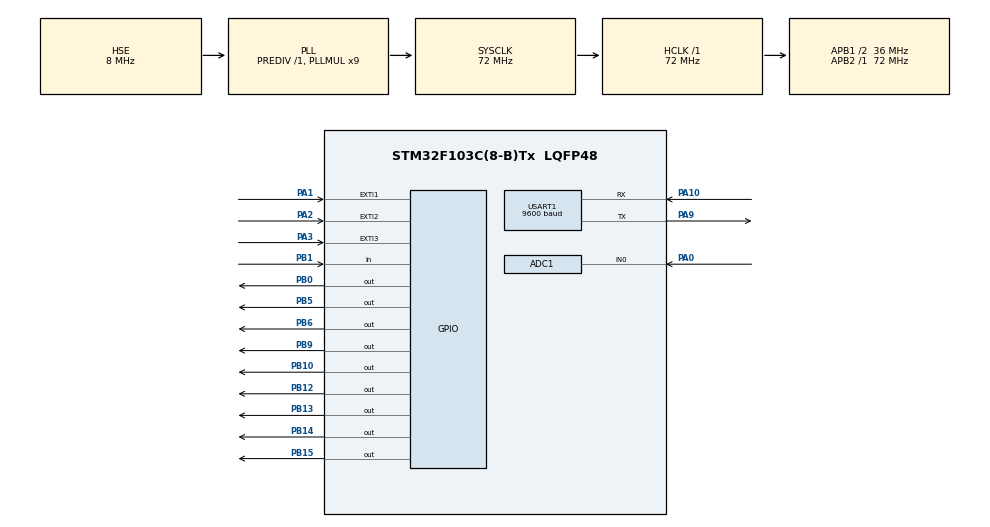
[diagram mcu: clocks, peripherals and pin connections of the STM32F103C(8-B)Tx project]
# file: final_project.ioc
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ADC1.Channel-5\#ChannelRegularConversion=ADC_CHANNEL_0
ADC1.NbrOfConversionFlag=1
ADC1.Rank-5\#ChannelRegularConversion=1
ADC1.SamplingTime-5\#ChannelRegularConversion=ADC_SAMPLETIME_1CYCLE_5
ADC1.master=1
Mcu.Family=STM32F1
Mcu.Name=STM32F103C(8-B)Tx
Mcu.Package=LQFP48
NVIC.ADC1_2_IRQn=true\:0\:0\:false\:false\:true\:true\:true
NVIC.EXTI1_IRQn=true\:0\:0\:false\:true\:true\:1\:true\:true
NVIC.EXTI2_IRQn=true\:0\:0\:false\:true\:true\:3\:true\:true
NVIC.EXTI3_IRQn=true\:0\:0\:false\:true\:true\:2\:true\:true
NVIC.PriorityGroup=NVIC_PRIORITYGROUP_4
NVIC.USART1_IRQn=true\:0\:0\:false\:false\:true\:true\:true
PA0-WKUP.Signal=ADCx_IN0
PA1.GPIO_ModeDefaultEXTI=GPIO_MODE_IT_FALLING
PA1.Signal=GPXTI1
PA10.Mode=Asynchronous
PA10.Signal=USART1_RX
PA13.Mode=Serial_Wire
PA13.Signal=SYS_JTMS-SWDIO
PA14.Mode=Serial_Wire
PA14.Signal=SYS_JTCK-SWCLK
PA2.GPIO_ModeDefaultEXTI=GPIO_MODE_IT_FALLING
PA2.Signal=GPXTI2
PA3.GPIO_ModeDefaultEXTI=GPIO_MODE_IT_FALLING
PA3.Signal=GPXTI3
PA9.Mode=Asynchronous
PA9.Signal=USART1_TX
PB0.Signal=GPIO_Output
PB1.Signal=GPIO_Input
PB10.Signal=GPIO_Output
PB12.Signal=GPIO_Output
PB13.Signal=GPIO_Output
PB14.Signal=GPIO_Output
PB15.Signal=GPIO_Output
PB5.Signal=GPIO_Output
PB6.Signal=GPIO_Output
PB9.Signal=GPIO_Output
PD0-OSC_IN.Mode=HSE-External-Oscillator
PD0-OSC_IN.Signal=RCC_OSC_IN
PD1-OSC_OUT.Mode=HSE-External-Oscillator
PD1-OSC_OUT.Signal=RCC_OSC_OUT
ProjectManager.HeapSize=0x200
ProjectManager.StackSize=0x400
ProjectManager.TargetToolchain=TrueSTUDIO
RCC.ADCPresc=RCC_ADCPCLK2_DIV6
RCC.AHBFreq_Value=72000000
RCC.APB1CLKDivider=RCC_HCLK_DIV2
RCC.APB1Freq_Value=36000000
RCC.APB1TimFreq_Value=72000000
RCC.APB2Freq_Value=72000000
RCC.APB2TimFreq_Value=72000000
RCC.HCLKFreq_Value=72000000
RCC.PLLMUL=RCC_PLL_MUL9
RCC.PLLSourceVirtual=RCC_PLLSOURCE_HSE
RCC.SYSCLKFreq_VALUE=72000000
RCC.SYSCLKSource=RCC_SYSCLKSOURCE_PLLCLK
RCC.USBFreq_Value=72000000
SH.ADCx_IN0.0=ADC1_IN0,IN0
USART1.BaudRate=9600
USART1.VirtualMode=VM_ASYNC
board=custom

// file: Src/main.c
/* USER CODE BEGIN Header */
/**
 ******************************************************************************
 * @file           : main.c
 * @brief          : Main program body
 ******************************************************************************
 ** This notice applies to any and all portions of this file
 * that are not between comment pairs USER CODE BEGIN and
 * USER CODE END. Other portions of this file, whether
 * inserted by the user or by software development tools
 * are owned by their respective copyright owners.
 *
 * COPYRIGHT(c) 2019 STMicroelectronics
 *
 * Redistribution and use in source and binary forms, with or without modification,
 * are permitted provided that the following conditions are met:
 *   1. Redistributions of source code must retain the above copyright notice,
 *      this list of conditions and the following disclaimer.
 *   2. Redistributions in binary form must reproduce the above copyright notice,
 *      this list of conditions and the following disclaimer in the documentation
 *      and/or other materials provided with the distribution.
 *   3. Neither the name of STMicroelectronics nor the names of its contributors
 *      may be used to endorse or promote products derived from this software
 *      without specific prior written permission.
 *
 * THIS SOFTWARE IS PROVIDED BY THE COPYRIGHT HOLDERS AND CONTRIBUTORS "AS IS"
 * AND ANY EXPRESS OR IMPLIED WARRANTIES, INCLUDING, BUT NOT LIMITED TO, THE
 * IMPLIED WARRANTIES OF MERCHANTABILITY AND FITNESS FOR A PARTICULAR PURPOSE ARE
 * DISCLAIMED. IN NO EVENT SHALL THE COPYRIGHT HOLDER OR CONTRIBUTORS BE LIABLE
 * FOR ANY DIRECT, INDIRECT, INCIDENTAL, SPECIAL, EXEMPLARY, OR CONSEQUENTIAL
 * DAMAGES (INCLUDING, BUT NOT LIMITED TO, PROCUREMENT OF SUBSTITUTE GOODS OR
 * SERVICES; LOSS OF USE, DATA, OR PROFITS; OR BUSINESS INTERRUPTION) HOWEVER
 * CAUSED AND ON ANY THEORY OF LIABILITY, WHETHER IN CONTRACT, STRICT LIABILITY,
 * OR TORT (INCLUDING NEGLIGENCE OR OTHERWISE) ARISING IN ANY WAY OUT OF THE USE
 * OF THIS SOFTWARE, EVEN IF ADVISED OF THE POSSIBILITY OF SUCH DAMAGE.
 *
 ******************************************************************************
 */
/* USER CODE END Header */

#include <stm32f103xb.h>
#include <stm32f1xx.h>
#include <stm32f1xx_hal_adc.h>
#include <stm32f1xx_hal_adc_ex.h>
#include <stm32f1xx_hal_cortex.h>
#include <stm32f1xx_hal_def.h>
#include <stm32f1xx_hal_flash.h>
#include <stm32f1xx_hal_gpio.h>
#include <stm32f1xx_hal_rcc.h>
#include <stm32f1xx_hal_rcc_ex.h>
#include <stm32f1xx_hal_uart.h>
#include "stateMachine.h"
#include "e_adc_state.h"
#include "clock.h"
#include <string.h>
#include "main.h"

/* USER CODE BEGIN Includes */
#include "mx_prat_05_funcoes.h"   // header do arqv das funcoes do programa
/* USER CODE END Includes */

/* USER CODE BEGIN PD */
#define DT_VARRE  5             // inc varredura a cada 5 ms (~200 Hz)
#define DT_SELECT  200
#define DIGITO_APAGADO 0x10    // kte valor p/ apagar um d�ｿｽgito no display
#define SEGUNDO 100
#define MINUTO 60*SEGUNDO
#define RESET_CLOCK_TIME 3000
#define MAX_TRANSMIT_TRIES 3
#define BUFFER_SIZE 4
#define REQUEST_TRANSMISSION_DELAY (uint32_t) 250
#define WAITING_REQUEST_LED_BLINK_DELAY 100
#define SEVEN_SEG_E 14

#define TRUE 1
#define FALSE 0

/* USER CODE END PD */

volatile int receivedDataFlag = FALSE,
    canTransmitFlag = TRUE,
		shouldSendAdcValue = FALSE;

int transmitCounter = 0;
ADC_HandleTypeDef hadc1;
UART_HandleTypeDef huart1;

void SystemClock_Config(void);
static void MX_GPIO_Init(void);
static void MX_ADC1_Init(void);
static void MX_USART1_UART_Init(void);
static void MX_NVIC_Init(void);
/* USER CODE BEGIN PFP */
void setAdcState(int);             // seta modo_oper (no stm32f1xx_it.c)
int getAdcState(void);             // obt�ｿｽm modo_oper (stm32f1xx_it.c)
int getMachineState(void);
void setMachineState(int);
void setClockEditMode(eClockEditMode clockSelect);
int getClockEditMode(void);
void reset_pin_GPIOs(void);         // reset pinos da SPI
void serializar(int ser_data);       // prot fn serializa dados p/ 74HC595
int16_t conv_7_seg(int NumHex);      // prot fn conv valor --> 7-seg
int compareBuffers(uint8_t * first, uint8_t * second);
int isRequestToSendData(uint8_t * receiveBuffer, uint8_t * requestBuffer);
uint16_t calculateChecksum(uint8_t * buffer);
void packSendBuffer(uint8_t * buffer, uint16_t val_adc);
int isChecksumCorrect(uint8_t * receiveBuffer, uint16_t calculatedChecksum);
uint16_t getADCValueFromBuffer(uint8_t * receiveBuffer);
void turnOffLeds();
int isBufferReset(uint8_t * receiveBuffer);

/* USER CODE END PFP */

/* USER CODE BEGIN 0 */
volatile int16_t val_adc = 0,
    receivedValAdc = 0;

uint8_t requestBuffer[BUFFER_SIZE] = { 0x72, 0x72, 0x72, 0x72 },
    receiveBuffer[BUFFER_SIZE] = { 0x00, 0x00, 0x00, 0x00 },
    dataBuffer[BUFFER_SIZE] = { 0x00, 0x00, 0x00, 0x00 };

void resetClockStTimer(stHour * actualTime) {
	actualTime->seconds = 0;
	actualTime->minutes = 0;
	actualTime->hours = 0;
}

/* USER CODE END 0 */

int main(void) {
	/* USER CODE BEGIN 1 */
	// vars e flags de controle do programa no superloop...
	short acende = 0;
	int milADC = 0,                    // ini decimo de seg
			cenADC = 0,                      // ini unidade de seg
			dezADC = 0,                      // ini dezena de seg
			uniADC = 0;                      // ini unidade de minuto

	int minAnterior = 0;

	int16_t val7seg = 0x00FF,          // inicia 7-seg com 0xF (tudo apagado)
			serial_data = 0x01FF;           // dado a serializar (dig | val7seg)

	uint32_t miliVolt = 0x0,           // val adc convertido p/ miliVolts
			tIN_varre = 0,                  // registra tempo ultima varredura
			tIN_relogio = 0,
			tIN_select = 0;

	volatile uint32_t resetClockTimer = 0,
	    transmitTimer = -6000,
	    abortTime = 0,
	    uartResponseWaitTimer = 0;

	/* USER CODE END 1 */

	/* MCU Configuration--------------------------------------------------------*/

	/* Reset of all peripherals, Initializes the Flash interface and the Systick. */
	HAL_Init();

	/* Configure the system clock */
	SystemClock_Config();

	/* Initialize all configured peripherals */
	MX_GPIO_Init();
	MX_ADC1_Init();
	MX_USART1_UART_Init();

	/* Initialize interrupts */
	MX_NVIC_Init();
	/* USER CODE BEGIN 2 */

	// inicializa a SPI (pinos 6,9,10 da GPIOB)
	reset_pin_GPIOs();

	// Inicializa a recepcao de dados via UART
	HAL_UART_Receive_IT(&huart1, receiveBuffer, sizeof(receiveBuffer));

	// var de estado que controla a varredura (qual display �ｿｽ mostrado)
	static enum {
		DIG_UNI, DIG_DEC, DIG_CENS, DIG_MILS
	} sttVARRE = DIG_UNI;

	/* USER CODE END 2 */

	/* Infinite loop */
	while (1) {

		/* USER CODE BEGIN 3 */

	  // Incrementa tempo do relogio
	  if ((HAL_GetTick() - tIN_relogio) > SEGUNDO) {

	    tIN_relogio = HAL_GetTick();
	    incrementSeconds();

	    if(minAnterior != getTempTimeMinutes()){
	      setAdcState(ADC_STATE_SHOOT_ADC_CONVERSION);
	      minAnterior = getTempTimeMinutes();
	    }
	  }

		// Verifica se deve reiniciar contagem do relogio
		if (HAL_GPIO_ReadPin(GPIOA, GPIO_PIN_3) == GPIO_PIN_RESET) {
			if (HAL_GetTick() - resetClockTimer > RESET_CLOCK_TIME) {
				resetClockTimer = HAL_GetTick();
				setMachineState(MACHINE_STATE_CLOCK);
				resetTempTime();
			}
		} else {
			resetClockTimer = HAL_GetTick();
		}

		// Verifica se recebeu dados e faz tratamento de acordo
		if (receivedDataFlag) {
		  if (isRequestToSendData(receiveBuffer, requestBuffer)) {
		    setAdcState(ADC_STATE_SHOOT_ADC_CONVERSION);
		    shouldSendAdcValue = TRUE;
		  } else {
		    // entao eh dados
		    if (isChecksumCorrect(receiveBuffer,
		        calculateChecksum(receiveBuffer)) && !isBufferReset(receiveBuffer)) {
		      transmitCounter = 0;
		      receivedValAdc = getADCValueFromBuffer(receiveBuffer);
		    }
		  }

		  receivedDataFlag = FALSE;
		  HAL_UART_Receive_IT(&huart1, receiveBuffer, sizeof(receiveBuffer));
		}

		// Conversor analogico para digital
		if (getAdcState() == ADC_STATE_SHOOT_ADC_CONVERSION) {
		  setAdcState(ADC_STATE_IDLE);
		  HAL_ADC_Start_IT(&hadc1);  // dispara ADC p/ conversao por IRQ
		}

		if (getAdcState() == ADC_STATE_CONVERT_TO_MILI_VOLTS && getMachineState() == MACHINE_STATE_LDR_LOCAL) // entra qdo valor val_adc atualizado
		{
		  // converter o valor lido em decimais p/ display
		  miliVolt = val_adc * 3300 / 4095;
		  uniADC = miliVolt / 1000;
		  dezADC = (miliVolt - (uniADC * 1000)) / 100;
		  cenADC = (miliVolt - (uniADC * 1000) - (dezADC * 100)) / 10;
		  milADC = miliVolt - (uniADC * 1000) - (dezADC * 100)
					    - (cenADC * 10);
		  setAdcState(ADC_STATE_IDLE);                // zera var modo_oper
		}

		switch (getMachineState()) {
		  case MACHINE_STATE_CLOCK:
		    turnOffLeds();
		    if(getClockEditMode() == CLOCK_EDIT_MODE_HOUR) {
		      HAL_GPIO_WritePin(GPIOB, GPIO_PIN_13, GPIO_PIN_RESET);
		    } else if (getClockEditMode() == CLOCK_EDIT_MODE_MINUTES) {
		      HAL_GPIO_WritePin(GPIOB, GPIO_PIN_12, GPIO_PIN_RESET);
		    }

		    switch (getClockEditMode()) {
		      case CLOCK_EDIT_MODE_MINUTES:
		      case CLOCK_EDIT_MODE_HOUR:

		        if ((HAL_GetTick() - tIN_select) > DT_SELECT) {
		          tIN_select = HAL_GetTick(); // salva tIN p/ prox tempo varredura
		          acende = !acende;
		        }

		        if ((HAL_GetTick() - tIN_varre) > DT_VARRE) {
		          tIN_varre = HAL_GetTick(); // salva tIN p/ prox tempo varredura
		          switch (sttVARRE) {
		            case DIG_MILS: {
		              sttVARRE = DIG_CENS;        // ajusta p/ prox digito
		              serial_data = 0x0008;          // display #1

		              if((getClockEditMode() == CLOCK_EDIT_MODE_MINUTES) && !acende) {
		                val7seg = 0xFFFF;
		              } else {
		                val7seg = conv_7_seg(getTempTimeUniMinutes());
		              }
		              break;
		            }
		            case DIG_CENS: {
		              sttVARRE = DIG_DEC;         // ajusta p/ prox digito
		              serial_data = 0x00004;         // display #2

		              if((getClockEditMode() == CLOCK_EDIT_MODE_MINUTES) && !acende) {
		                val7seg = 0xFFFF;
		              } else {
		                val7seg = conv_7_seg(getTempTimeDezMinutes());
		              }
		              break;
		            }
		            case DIG_DEC: {
		              sttVARRE = DIG_UNI;         // ajusta p/ prox digito
		              serial_data = 0x0002;          // display #3

		              if((getClockEditMode() == CLOCK_EDIT_MODE_HOUR) && !acende) {
		                val7seg = 0xFFFF;
		              } else {
		                val7seg = conv_7_seg(getTempTimeUniHours());
		                val7seg &= 0x7FFF;           // liga o ponto decimal
		              }
		              break;
		            }
		            case DIG_UNI: {
		              sttVARRE = DIG_MILS;        // ajusta p/ prox digito
		              serial_data = 0x0001;          // display #3

		              if((getClockEditMode() == CLOCK_EDIT_MODE_HOUR) && !acende) {
		                val7seg = 0xFFFF;
		              } else {
		                val7seg = conv_7_seg(getTempTimeDezHours());
		                val7seg &= 0x7FFF;           // liga o ponto decimal
		              }
		              break;
		            }
		          }
		          tIN_varre = HAL_GetTick(); // tmp atual em que fez essa varredura
		          serial_data |= val7seg; // OR com val7seg = dado a serializar
		          serializar(serial_data); // serializa dado p/74HC595 (shift reg)
		        }
		      case CLOCK_EDIT_MODE_RUN:

		        // Envia para o display
		        if ((HAL_GetTick() - tIN_varre) > DT_VARRE) {
		          tIN_varre = HAL_GetTick(); // salva tIN p/ prox tempo varredura
		          switch (sttVARRE)
		          // teste e escolha de qual DIG vai varrer
		          {
		            case DIG_MILS: {
		              sttVARRE = DIG_CENS;           // ajusta p/ prox digito
		              serial_data = 0x0008;          // display #1
		              val7seg = conv_7_seg(getTempTimeUniMinutes());
		              break;
		            }
		            case DIG_CENS: {
		              sttVARRE = DIG_DEC;            // ajusta p/ prox digito
		              serial_data = 0x00004;         // display #2
		              val7seg = conv_7_seg(getTempTimeDezMinutes());
		              break;
		            }
		            case DIG_DEC: {
		              sttVARRE = DIG_UNI;            // ajusta p/ prox digito
		              serial_data = 0x0002;          // display #3
		              val7seg = conv_7_seg(getTempTimeUniHours());
		              val7seg &= 0x7FFF;            // liga o ponto decimal
		              break;
		            }
		            case DIG_UNI: {
		              sttVARRE = DIG_MILS;           // ajusta p/ prox digito
		              serial_data = 0x0001;          // display #3
		              val7seg = conv_7_seg(getTempTimeDezHours());
		              break;
		            }
		          }  // fim case
		          tIN_varre = HAL_GetTick(); // tmp atual em que fez essa varredura
		          serial_data |= val7seg; // OR com val7seg = dado a serializar
		          serializar(serial_data); // serializa dado p/74HC595 (shift reg)
		        }
		        break;
		    }
		    break;
		      case MACHINE_STATE_LDR_LOCAL:
		        if ((HAL_GetTick() - tIN_varre) > DT_VARRE) {
		          tIN_varre = HAL_GetTick();  // salva tIN p/ prox tempo varredura
		          switch (sttVARRE)
		          // teste e escolha de qual DIG vai varrer
		          {
		            case DIG_MILS: {
		              sttVARRE = DIG_CENS;           // ajusta p/ prox digito
		              serial_data = 0x0008;          // display #1
		              val7seg = conv_7_seg(milADC);
		              break;
		            }
		            case DIG_CENS: {
		              sttVARRE = DIG_DEC;            // ajusta p/ prox digito
		              serial_data = 0x00004;         // display #2
		              if (cenADC > 0 || dezADC > 0 || uniADC > 0) {
		                val7seg = conv_7_seg(cenADC);
		              } else {
		                val7seg = conv_7_seg(DIGITO_APAGADO);
		              }
		              break;
		            }
		            case DIG_DEC: {
		              sttVARRE = DIG_UNI;            // ajusta p/ prox digito
		              serial_data = 0x0002;          // display #3
		              if (dezADC > 0 || uniADC > 0) {
		                val7seg = conv_7_seg(dezADC);
		              } else {
		                val7seg = conv_7_seg(DIGITO_APAGADO);
		              }
		              break;
		            }
		            case DIG_UNI: {
		              sttVARRE = DIG_MILS;           // ajusta p/ prox digito
		              serial_data = 0x0001;          // display #3
		              if (uniADC > 0) {
		                val7seg = conv_7_seg(uniADC);
		                val7seg &= 0x7FFF;            // liga o ponto decimal
		              } else {
		                val7seg = conv_7_seg(DIGITO_APAGADO);
		              }
		              break;
		            }
		          }  // fim case
		          tIN_varre = HAL_GetTick(); // tmp atual em que fez essa varredura
		          serial_data |= val7seg;    // OR com val7seg = dado a serializar
		          serializar(serial_data); // serializa dado p/74HC595 (shift reg)
		        }  // -- fim da tarefa #3 - varredura do display

		        break;
		      case MACHINE_STATE_LDR_NOT_LOCAL:
		        if ((HAL_GetTick() - transmitTimer > REQUEST_TRANSMISSION_DELAY
		            && canTransmitFlag)) {
		          transmitTimer = HAL_GetTick();
		          transmitCounter++;
		          canTransmitFlag = FALSE;

		          turnOffLeds();
		          HAL_UART_Transmit_IT(&huart1, requestBuffer,
		              sizeof(requestBuffer));
		        }

		        // Acende LEDS e toca buzer
		        if((transmitCounter) && (HAL_GetTick() - uartResponseWaitTimer > WAITING_REQUEST_LED_BLINK_DELAY)) {
		          uartResponseWaitTimer = HAL_GetTick();
		          HAL_GPIO_TogglePin(GPIOB, GPIO_PIN_12 | GPIO_PIN_13 | GPIO_PIN_14 | GPIO_PIN_15 | GPIO_PIN_5);
		        } else if (!transmitCounter){
		          turnOffLeds();
		          HAL_GPIO_WritePin(GPIOB, GPIO_PIN_14, GPIO_PIN_RESET);
		        }

		        // Da sinal de erro caso nao sejam respondidas requisicoes UART feitas
		        if (transmitCounter > MAX_TRANSMIT_TRIES) {
		          milADC = transmitCounter % 10;
		          cenADC = transmitCounter / 10;
		          dezADC = SEVEN_SEG_E;
		          uniADC = SEVEN_SEG_E;

		          // Aborta operações da UART caso atinja timeout
		          if(HAL_GetTick() - abortTime > 800) {
		            abortTime = HAL_GetTick();
		            HAL_UART_Abort_IT(&huart1);
		          }
		        } else {
		          // converter o valor recebido em decimais p/ display
		          miliVolt = receivedValAdc * 3300 / 4095;
		          uniADC = miliVolt / 1000;
		          dezADC = (miliVolt - (uniADC * 1000)) / 100;
		          cenADC = (miliVolt - (uniADC * 1000) - (dezADC * 100)) / 10;
		          milADC = miliVolt - (uniADC * 1000) - (dezADC * 100)
	                                    - (cenADC * 10);
		        }

		        if ((HAL_GetTick() - tIN_varre) > DT_VARRE) {
		          tIN_varre = HAL_GetTick(); // salva tIN p/ prox tempo varredura

		          switch (sttVARRE)
		          // teste e escolha de qual DIG vai varrer
		          {
		            case DIG_MILS: {
		              sttVARRE = DIG_CENS;           // ajusta p/ prox digito
		              serial_data = 0x0008;          // display #1
		              val7seg = conv_7_seg(milADC);
		              break;
		            }
		            case DIG_CENS: {
		              sttVARRE = DIG_DEC;            // ajusta p/ prox digito
		              serial_data = 0x00004;         // display #2
		              if (cenADC > 0 || dezADC > 0 || uniADC > 0) {
		                val7seg = conv_7_seg(cenADC);
		              } else {
		                val7seg = conv_7_seg(DIGITO_APAGADO);
		              }
		              break;
		            }
		            case DIG_DEC: {
		              sttVARRE = DIG_UNI;            // ajusta p/ prox digito
		              serial_data = 0x0002;          // display #3
		              if (dezADC > 0 || uniADC > 0) {
		                val7seg = conv_7_seg(dezADC);
		              } else {
		                val7seg = conv_7_seg(DIGITO_APAGADO);
		              }
		              break;
		            }
		            case DIG_UNI: {
		              sttVARRE = DIG_MILS;           // ajusta p/ prox digito
		              serial_data = 0x0001;          // display #3
		              if (uniADC > 0) {
		                val7seg = conv_7_seg(uniADC);
		                val7seg &= 0x7FFF;           // liga o ponto decimal
		              } else {
		                val7seg = conv_7_seg(DIGITO_APAGADO);
		              }
		              break;
		            }
		          }  // fim case
		          tIN_varre = HAL_GetTick(); // tmp atual em que fez essa varredura
		          serial_data |= val7seg; // OR com val7seg = dado a serializar
		          serializar(serial_data); // serializa dado p/74HC595 (shift reg)
		        }  // -- fim da tarefa #3 - varredura do display

		        break;
		}

	}    // -- fim do loop infinito

	/* USER CODE END 3 */
}

void SystemClock_Config(void) {
	RCC_OscInitTypeDef RCC_OscInitStruct = { 0 };
	RCC_ClkInitTypeDef RCC_ClkInitStruct = { 0 };
	RCC_PeriphCLKInitTypeDef PeriphClkInit = { 0 };
	/**Initializes the CPU, AHB and APB busses clocks
	 */
	RCC_OscInitStruct.OscillatorType = RCC_OSCILLATORTYPE_HSE;
	RCC_OscInitStruct.HSEState = RCC_HSE_ON;
	RCC_OscInitStruct.HSEPredivValue = RCC_HSE_PREDIV_DIV1;
	RCC_OscInitStruct.HSIState = RCC_HSI_ON;
	RCC_OscInitStruct.PLL.PLLState = RCC_PLL_ON;
	RCC_OscInitStruct.PLL.PLLSource = RCC_PLLSOURCE_HSE;
	RCC_OscInitStruct.PLL.PLLMUL = RCC_PLL_MUL9;
	if (HAL_RCC_OscConfig(&RCC_OscInitStruct) != HAL_OK) {
		Error_Handler();
	}
	/**Initializes the CPU, AHB and APB busses clocks
	 */
	RCC_ClkInitStruct.ClockType = RCC_CLOCKTYPE_HCLK | RCC_CLOCKTYPE_SYSCLK
			| RCC_CLOCKTYPE_PCLK1 | RCC_CLOCKTYPE_PCLK2;
	RCC_ClkInitStruct.SYSCLKSource = RCC_SYSCLKSOURCE_PLLCLK;
	RCC_ClkInitStruct.AHBCLKDivider = RCC_SYSCLK_DIV1;
	RCC_ClkInitStruct.APB1CLKDivider = RCC_HCLK_DIV2;
	RCC_ClkInitStruct.APB2CLKDivider = RCC_HCLK_DIV1;

	if (HAL_RCC_ClockConfig(&RCC_ClkInitStruct, FLASH_LATENCY_2) != HAL_OK) {
		Error_Handler();
	}
	PeriphClkInit.PeriphClockSelection = RCC_PERIPHCLK_ADC;
	PeriphClkInit.AdcClockSelection = RCC_ADCPCLK2_DIV6;
	if (HAL_RCCEx_PeriphCLKConfig(&PeriphClkInit) != HAL_OK) {
		Error_Handler();
	}
}

/**
 * @brief NVIC Configuration.
 * @retval None
 */
static void MX_NVIC_Init(void) {
	/* EXTI1_IRQn interrupt configuration */
	HAL_NVIC_SetPriority(EXTI1_IRQn, 0, 0);
	HAL_NVIC_EnableIRQ(EXTI1_IRQn);
	/* EXTI3_IRQn interrupt configuration */
	HAL_NVIC_SetPriority(EXTI3_IRQn, 0, 0);
	HAL_NVIC_EnableIRQ(EXTI3_IRQn);
	/* EXTI2_IRQn interrupt configuration */
	HAL_NVIC_SetPriority(EXTI2_IRQn, 0, 0);
	HAL_NVIC_EnableIRQ(EXTI2_IRQn);
}

static void MX_ADC1_Init(void) {

	ADC_ChannelConfTypeDef sConfig = { 0 };

	/**Common config
	 */
	hadc1.Instance = ADC1;
	hadc1.Init.ScanConvMode = ADC_SCAN_DISABLE;
	hadc1.Init.ContinuousConvMode = DISABLE;
	hadc1.Init.DiscontinuousConvMode = DISABLE;
	hadc1.Init.ExternalTrigConv = ADC_SOFTWARE_START;
	hadc1.Init.DataAlign = ADC_DATAALIGN_RIGHT;
	hadc1.Init.NbrOfConversion = 1;
	if (HAL_ADC_Init(&hadc1) != HAL_OK) {
		Error_Handler();
	}
	/**Configure Regular Channel
	 */
	sConfig.Channel = ADC_CHANNEL_0;
	sConfig.Rank = ADC_REGULAR_RANK_1;
	sConfig.SamplingTime = ADC_SAMPLETIME_1CYCLE_5;
	if (HAL_ADC_ConfigChannel(&hadc1, &sConfig) != HAL_OK) {
		Error_Handler();
	}

}

static void MX_USART1_UART_Init(void) {

	huart1.Instance = USART1;
	huart1.Init.BaudRate = 38400;
	huart1.Init.WordLength = UART_WORDLENGTH_8B;
	huart1.Init.StopBits = UART_STOPBITS_1;
	huart1.Init.Parity = UART_PARITY_NONE;
	huart1.Init.Mode = UART_MODE_TX_RX;
	huart1.Init.HwFlowCtl = UART_HWCONTROL_NONE;
	huart1.Init.OverSampling = UART_OVERSAMPLING_16;
	if (HAL_UART_Init(&huart1) != HAL_OK) {
		Error_Handler();
	}

}

static void MX_GPIO_Init(void) {
	GPIO_InitTypeDef GPIO_InitStruct = { 0 };

	/* GPIO Ports Clock Enable */
	__HAL_RCC_GPIOD_CLK_ENABLE()
	;
	__HAL_RCC_GPIOA_CLK_ENABLE()
	;
	__HAL_RCC_GPIOB_CLK_ENABLE()
	;

	/*Configure GPIO pin Output Level */
	HAL_GPIO_WritePin(GPIOB,
			GPIO_PIN_0 | GPIO_PIN_10 | GPIO_PIN_12 | GPIO_PIN_13 | GPIO_PIN_14
					| GPIO_PIN_15 | GPIO_PIN_5 | GPIO_PIN_6 | GPIO_PIN_9,
			GPIO_PIN_SET);

	/*Configure GPIO pins : PA1 PA2 PA3 */
	GPIO_InitStruct.Pin = GPIO_PIN_1 | GPIO_PIN_2 | GPIO_PIN_3;
	GPIO_InitStruct.Mode = GPIO_MODE_IT_FALLING;
	GPIO_InitStruct.Pull = GPIO_NOPULL;
	HAL_GPIO_Init(GPIOA, &GPIO_InitStruct);

	/*Configure GPIO pins : PB0 PB10 PB12 PB13
	 PB14 PB15 PB5 PB6
	 PB9 */
	GPIO_InitStruct.Pin = GPIO_PIN_0 | GPIO_PIN_10 | GPIO_PIN_12 | GPIO_PIN_13
			| GPIO_PIN_14 | GPIO_PIN_15 | GPIO_PIN_5 | GPIO_PIN_6 | GPIO_PIN_9;
	GPIO_InitStruct.Mode = GPIO_MODE_OUTPUT_PP;
	GPIO_InitStruct.Pull = GPIO_NOPULL;
	GPIO_InitStruct.Speed = GPIO_SPEED_FREQ_LOW;
	HAL_GPIO_Init(GPIOB, &GPIO_InitStruct);

	/*Configure GPIO pin : PB1 */
	GPIO_InitStruct.Pin = GPIO_PIN_1;
	GPIO_InitStruct.Mode = GPIO_MODE_INPUT;
	GPIO_InitStruct.Pull = GPIO_NOPULL;
	HAL_GPIO_Init(GPIOB, &GPIO_InitStruct);

}

/* USER CODE BEGIN 4 */

uint16_t getADCValueFromBuffer(uint8_t * receiveBuffer) {
	return (uint16_t) 0x0000 | receiveBuffer[0] << 8 | receiveBuffer[1];
}

int isChecksumCorrect(uint8_t * receiveBuffer, uint16_t calculatedChecksum) {
	return calculatedChecksum
			== ((uint16_t) 0x0000 | receiveBuffer[2] << 8 | receiveBuffer[3]);
}

void packSendBuffer(uint8_t * buffer, uint16_t val_adc) {
	// Colocar dados nos primeiros 2 bytes do buffer de envio
	buffer[1] = (uint8_t) 0xFF & val_adc;
	buffer[0] = (uint8_t) 0x0F & (val_adc >> 8);
	// calcular checksum
	uint16_t checksum = calculateChecksum(buffer);
	// Coloca o checksum nos ultimos bytes de envio
	buffer[3] = (uint8_t) 0xFF & checksum;
	buffer[2] = (uint8_t) checksum >> 8;
}

void turnOffLeds() {
  HAL_GPIO_WritePin(GPIOB, GPIO_PIN_12 | GPIO_PIN_13 | GPIO_PIN_14 | GPIO_PIN_15 | GPIO_PIN_5, GPIO_PIN_SET);
}

uint16_t calculateChecksum(uint8_t * buffer) {
	return (uint16_t) buffer[0] + buffer[1];
}

int isRequestToSendData(uint8_t * receiveBuffer, uint8_t * requestBuffer) {
	return !compareBuffers(receiveBuffer, requestBuffer);
}

int compareBuffers(uint8_t * first, uint8_t * second) {
	int index;
	for (index = 0; index < BUFFER_SIZE; index++) {
		if (first[index] != second[index]) {
			return -1;
		}
	}
	return 0;
}

int isBufferReset(uint8_t * receiveBuffer) {
  int i;
  for(i = 0; i < BUFFER_SIZE; i++) {
    if(receiveBuffer[i] != '\0') {
      return FALSE;
    }
  }

  return TRUE;
}

void HAL_UART_TxCpltCallback(UART_HandleTypeDef *huart) {
	canTransmitFlag = TRUE;
	//HAL_UART_Abort_IT(&huart1);
}

void HAL_UART_RxCpltCallback(UART_HandleTypeDef *huart) {
	receivedDataFlag = TRUE;
	//HAL_UART_Abort_IT(&huart1);
}

// fn que atende ao callback da ISR do conversor ADC1
void HAL_ADC_ConvCpltCallback(ADC_HandleTypeDef* hadc) {
	if (hadc->Instance == ADC1) {
		val_adc = HAL_ADC_GetValue(&hadc1);  // capta valor adc

		// Verifica se deve enviar valor atualizado para outra placa via UART
		if(shouldSendAdcValue && canTransmitFlag) {
		  canTransmitFlag = FALSE;
		  shouldSendAdcValue = FALSE;
		  packSendBuffer(dataBuffer, val_adc);
		  HAL_UART_Transmit_IT(&huart1, dataBuffer, sizeof(dataBuffer));
		}

		setAdcState(ADC_STATE_CONVERT_TO_MILI_VOLTS);
	}
}

void HAL_UART_AbortCpltCallback (UART_HandleTypeDef *huart) {
  HAL_UART_Receive_IT(&huart1, receiveBuffer, sizeof(receiveBuffer));
  canTransmitFlag = TRUE;
}

/* USER CODE END 4 */

void Error_Handler(void) {
}

/************************ (C) COPYRIGHT STMicroelectronics *****END OF FILE****/
